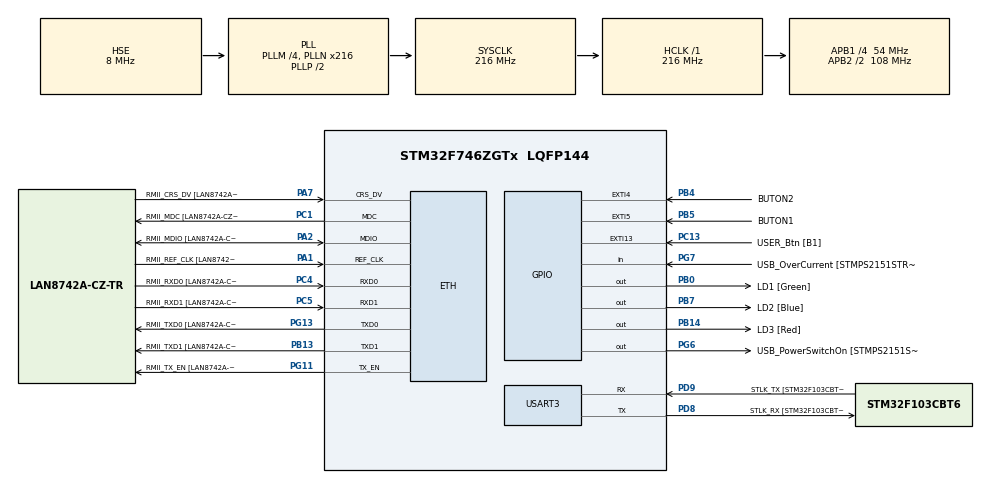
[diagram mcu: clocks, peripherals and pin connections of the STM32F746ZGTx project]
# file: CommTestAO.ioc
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Dma.Request0=USART3_RX
Dma.Request1=USART3_TX
Dma.USART3_RX.0.Direction=DMA_PERIPH_TO_MEMORY
Dma.USART3_RX.0.FIFOMode=DMA_FIFOMODE_DISABLE
Dma.USART3_RX.0.Instance=DMA1_Stream1
Dma.USART3_RX.0.MemDataAlignment=DMA_MDATAALIGN_BYTE
Dma.USART3_RX.0.MemInc=DMA_MINC_ENABLE
Dma.USART3_RX.0.Mode=DMA_CIRCULAR
Dma.USART3_RX.0.PeriphDataAlignment=DMA_PDATAALIGN_BYTE
Dma.USART3_RX.0.PeriphInc=DMA_PINC_DISABLE
Dma.USART3_RX.0.Priority=DMA_PRIORITY_LOW
Dma.USART3_TX.1.Direction=DMA_MEMORY_TO_PERIPH
Dma.USART3_TX.1.FIFOMode=DMA_FIFOMODE_DISABLE
Dma.USART3_TX.1.Instance=DMA1_Stream3
Dma.USART3_TX.1.MemDataAlignment=DMA_MDATAALIGN_BYTE
Dma.USART3_TX.1.MemInc=DMA_MINC_ENABLE
Dma.USART3_TX.1.Mode=DMA_NORMAL
Dma.USART3_TX.1.PeriphDataAlignment=DMA_PDATAALIGN_BYTE
Dma.USART3_TX.1.PeriphInc=DMA_PINC_DISABLE
Dma.USART3_TX.1.Priority=DMA_PRIORITY_LOW
ETH.ChecksumMode=ETH_CHECKSUM_BY_HARDWARE
ETH.MediaInterface=ETH_MEDIA_INTERFACE_RMII
ETH.PHY_Name=LAN8742A_PHY_ADDRESS
ETH.PHY_Value=0
ETH.PhyAddress=0
LWIP.IP_ADDRESS=192.168.000.010
LWIP.LWIP_DHCP=0
LWIP.MEMP_OVERFLOW_CHECK=1
LWIP.MEMP_SANITY_CHECK=1
LWIP.MEM_OVERFLOW_CHECK=1
LWIP.MEM_SIZE=16000
LWIP.NETMASK_ADDRESS=255.255.255.000
LWIP.Version=v2.1.2_Cube
Mcu.Family=STM32F7
Mcu.Name=STM32F746ZGTx
Mcu.Package=LQFP144
NVIC.DMA1_Stream1_IRQn=true\:0\:0\:false\:false\:true\:false\:true\:true
NVIC.DMA1_Stream3_IRQn=true\:0\:0\:false\:false\:true\:false\:true\:true
NVIC.ETH_IRQn=true\:0\:0\:false\:false\:true\:true\:true\:true
NVIC.ETH_WKUP_IRQn=true\:0\:0\:false\:false\:true\:true\:true\:true
NVIC.EXTI15_10_IRQn=true\:0\:0\:false\:false\:true\:true\:true\:true
NVIC.EXTI4_IRQn=true\:0\:0\:false\:false\:true\:true\:true\:true
NVIC.EXTI9_5_IRQn=true\:0\:0\:false\:false\:true\:true\:true\:true
NVIC.PriorityGroup=NVIC_PRIORITYGROUP_4
NVIC.TIM6_DAC_IRQn=true\:0\:0\:false\:false\:true\:true\:true\:true
NVIC.USART3_IRQn=true\:0\:0\:false\:false\:true\:true\:true\:true
PA1.GPIO_Label=RMII_REF_CLK [LAN8742A-CZ-TR_REFCLK0]
PA1.Mode=RMII
PA1.Signal=ETH_REF_CLK
PA13.GPIO_Label=TMS
PA13.Mode=Trace_Asynchronous_SW
PA13.Signal=SYS_JTMS-SWDIO
PA14.GPIO_Label=TCK
PA14.Mode=Trace_Asynchronous_SW
PA14.Signal=SYS_JTCK-SWCLK
PA2.GPIO_Label=RMII_MDIO [LAN8742A-CZ-TR_MDIO]
PA2.Mode=RMII
PA2.Signal=ETH_MDIO
PA7.GPIO_Label=RMII_CRS_DV [LAN8742A-CZ-TR_CRS_DV]
PA7.Mode=RMII
PA7.Signal=ETH_CRS_DV
PB0.GPIO_Label=LD1 [Green]
PB0.Signal=GPIO_Output
PB13.GPIO_Label=RMII_TXD1 [LAN8742A-CZ-TR_TXD1]
PB13.Mode=RMII
PB13.Signal=ETH_TXD1
PB14.GPIO_Label=LD3 [Red]
PB14.Signal=GPIO_Output
PB3.GPIO_Label=SW0
PB3.Mode=Trace_Asynchronous_SW
PB3.Signal=SYS_JTDO-SWO
PB4.GPIO_Label=BUTON2
PB4.GPIO_ModeDefaultEXTI=GPIO_MODE_IT_RISING_FALLING
PB4.GPIO_PuPd=GPIO_PULLDOWN
PB4.Signal=GPXTI4
PB5.GPIO_Label=BUTON1
PB5.GPIO_ModeDefaultEXTI=GPIO_MODE_IT_RISING_FALLING
PB5.GPIO_PuPd=GPIO_PULLDOWN
PB5.Signal=GPXTI5
PB7.GPIO_Label=LD2 [Blue]
PB7.Signal=GPIO_Output
PC1.GPIO_Label=RMII_MDC [LAN8742A-CZ-TR_MDC]
PC1.Mode=RMII
PC1.Signal=ETH_MDC
PC13.GPIO_Label=USER_Btn [B1]
PC13.GPIO_ModeDefaultEXTI=GPIO_MODE_IT_RISING_FALLING
PC13.GPIO_PuPd=GPIO_PULLDOWN
PC13.Signal=GPXTI13
PC14/OSC32_IN.Mode=LSE-External-Oscillator
PC14/OSC32_IN.Signal=RCC_OSC32_IN
PC15/OSC32_OUT.Mode=LSE-External-Oscillator
PC15/OSC32_OUT.Signal=RCC_OSC32_OUT
PC4.GPIO_Label=RMII_RXD0 [LAN8742A-CZ-TR_RXD0]
PC4.Mode=RMII
PC4.Signal=ETH_RXD0
PC5.GPIO_Label=RMII_RXD1 [LAN8742A-CZ-TR_RXD1]
PC5.Mode=RMII
PC5.Signal=ETH_RXD1
PD8.GPIO_Label=STLK_RX [STM32F103CBT6_PA3]
PD8.Mode=Asynchronous
PD8.Signal=USART3_TX
PD9.GPIO_Label=STLK_TX [STM32F103CBT6_PA2]
PD9.Mode=Asynchronous
PD9.Signal=USART3_RX
PG11.GPIO_Label=RMII_TX_EN [LAN8742A-CZ-TR_TXEN]
PG11.Mode=RMII
PG11.Signal=ETH_TX_EN
PG13.GPIO_Label=RMII_TXD0 [LAN8742A-CZ-TR_TXD0]
PG13.Mode=RMII
PG13.Signal=ETH_TXD0
PG6.GPIO_Label=USB_PowerSwitchOn [STMPS2151STR_EN]
PG6.Signal=GPIO_Output
PG7.GPIO_Label=USB_OverCurrent [STMPS2151STR_FAULT]
PG7.Signal=GPIO_Input
PH0/OSC_IN.GPIO_Label=MCO [STM32F103CBT6_PA8]
PH0/OSC_IN.Mode=HSE-External-Clock-Source
PH0/OSC_IN.Signal=RCC_OSC_IN
PH1/OSC_OUT.Mode=HSE-External-Clock-Source
PH1/OSC_OUT.Signal=RCC_OSC_OUT
ProjectManager.HeapSize=0x2000
ProjectManager.StackSize=0x4000
ProjectManager.TargetToolchain=STM32CubeIDE
RCC.48MHZClocksFreq_Value=24000000
RCC.AHBFreq_Value=216000000
RCC.APB1CLKDivider=RCC_HCLK_DIV4
RCC.APB1Freq_Value=54000000
RCC.APB1TimFreq_Value=108000000
RCC.APB2CLKDivider=RCC_HCLK_DIV2
RCC.APB2Freq_Value=108000000
RCC.APB2TimCLKDivider=1
RCC.APB2TimFreq_Value=108000000
RCC.CortexFreq_Value=216000000
RCC.HCLKFreq_Value=216000000
RCC.HSE_VALUE=8000000
RCC.HSI_VALUE=16000000
RCC.PLLM=4
RCC.PLLMUL=RCC_PLL_MUL9
RCC.PLLN=216
RCC.PLLQ=9
RCC.PLLSourceVirtual=RCC_PLLSOURCE_HSE
RCC.PRESCALERUSB=RCC_USBCLKSOURCE_PLL_DIV1_5
RCC.SYSCLKFreq_VALUE=216000000
RCC.SYSCLKSource=RCC_SYSCLKSOURCE_PLLCLK
RCC.SYSCLKSourceVirtual=RCC_SYSCLKSOURCE_PLLCLK
RCC.USBFreq_Value=48000000
RCC.VCOOutputFreq_Value=432000000
TIM6.Period=100-1
TIM6.Prescaler=540-1
USART3.VirtualMode-Asynchronous=VM_ASYNC
VP_LWIP_VS_Enabled.Mode=Enabled
VP_TIM6_VS_ClockSourceINT.Mode=Enable_Timer
board=NUCLEO-F746ZG

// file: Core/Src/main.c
/* USER CODE BEGIN Header */
/**
  ******************************************************************************
  * @file           : main.c
  * @brief          : Main program body
  ******************************************************************************
  * @attention
  *
  * Copyright (c) 2022 STMicroelectronics.
  * All rights reserved.
  *
  * This software is licensed under terms that can be found in the LICENSE file
  * in the root directory of this software component.
  * If no LICENSE file comes with this software, it is provided AS-IS.
  *
  ******************************************************************************
  */
/* USER CODE END Header */
#include "main.h"
#include "lwip.h"

/* USER CODE BEGIN Includes */
#include "stdio.h"
#include "stdlib.h"  /*For malloc function*/
#include "stdbool.h"
#include "retarget.h"
//#include "udp_echoserver.h"
#include "string.h"
#include "CommDriver.h"
/* USER CODE END Includes */

/* USER CODE BEGIN PTD */

Q_DEFINE_THIS_MODULE("main");

/* USER CODE END PTD */

/* USER CODE BEGIN PD */
#define BSP_TICKS_PER_SEC 100
/* USER CODE END PD */

TIM_HandleTypeDef htim6;

UART_HandleTypeDef huart3;
DMA_HandleTypeDef hdma_usart3_rx;
DMA_HandleTypeDef hdma_usart3_tx;

void SystemClock_Config(void);
static void MX_GPIO_Init(void);
static void MX_USART3_UART_Init(void);
static void MX_DMA_Init(void);
static void MX_TIM6_Init(void);
/* USER CODE BEGIN PFP */
void Q_onAssert(char const *module, int loc);
/* USER CODE END PFP */

int main(void)
{
  /* USER CODE BEGIN 1 */
	static QSubscrList subscrSto[10];

	static QF_MPOOL_EL(TextEvt) smlPoolSto[10]; /* small pool */

	static QEvt const *LwipDriver_queue[10];
	static QEvt const *UartDriver_queue[10];

	static LwipDriver lwipdriver;
	static UartDriver uartdriver;
	static QActive *AO_LwipDriver = &lwipdriver.super;
	static QActive *AO_UartDriver = &uartdriver.super;
  /* USER CODE END 1 */

  /* MCU Configuration--------------------------------------------------------*/

  /* Reset of all peripherals, Initializes the Flash interface and the Systick. */
  HAL_Init();

  /* Configure the system clock */
  SystemClock_Config();

  /* Initialize all configured peripherals */
  MX_GPIO_Init();
  MX_USART3_UART_Init();
  MX_DMA_Init();
  MX_LWIP_Init();
  MX_TIM6_Init();
  /* USER CODE BEGIN 2 */
  HAL_UART_DeInit(&huart3);
  HAL_UART_Init(&huart3);
  HAL_UART_Receive_DMA(&huart3,(uint8_t *)uartdriver.text,sizeof(uartdriver.text));
  RetargetInit(&huart3);

  printf("Merhaba\r\n");

  UartDriver_ctor(&uartdriver);
  LwipDriver_ctor(&lwipdriver);

  QF_init();
  QF_psInit(subscrSto, Q_DIM(subscrSto));
  /* initialize event pools... */
  QF_poolInit(smlPoolSto, sizeof(smlPoolSto), sizeof(smlPoolSto[0]));

  /*Aktif objeler arasındaki öncelik ilişkisine dikkat et , öncelikler kesinlikle aynı olmayacak*/

  QACTIVE_START(AO_LwipDriver,2U,LwipDriver_queue,Q_DIM(LwipDriver_queue),(void *)0,0U,(QEvt *)0);
  QACTIVE_START(AO_UartDriver,1U,UartDriver_queue,Q_DIM(UartDriver_queue),(void *)0,0U,(QEvt *)0);
  return QF_run();

  /* USER CODE END 2 */

  /* Infinite loop */
  while (1)
  {

    /* USER CODE BEGIN 3 */

//	  MX_LWIP_Process();

  }
  /* USER CODE END 3 */
}

void SystemClock_Config(void)
{
  RCC_OscInitTypeDef RCC_OscInitStruct = {0};
  RCC_ClkInitTypeDef RCC_ClkInitStruct = {0};

  /** Configure LSE Drive Capability
  */
  HAL_PWR_EnableBkUpAccess();

  /** Configure the main internal regulator output voltage
  */
  __HAL_RCC_PWR_CLK_ENABLE();
  __HAL_PWR_VOLTAGESCALING_CONFIG(PWR_REGULATOR_VOLTAGE_SCALE1);

  /** Initializes the RCC Oscillators according to the specified parameters
  * in the RCC_OscInitTypeDef structure.
  */
  RCC_OscInitStruct.OscillatorType = RCC_OSCILLATORTYPE_HSE;
  RCC_OscInitStruct.HSEState = RCC_HSE_BYPASS;
  RCC_OscInitStruct.PLL.PLLState = RCC_PLL_ON;
  RCC_OscInitStruct.PLL.PLLSource = RCC_PLLSOURCE_HSE;
  RCC_OscInitStruct.PLL.PLLM = 4;
  RCC_OscInitStruct.PLL.PLLN = 216;
  RCC_OscInitStruct.PLL.PLLP = RCC_PLLP_DIV2;
  RCC_OscInitStruct.PLL.PLLQ = 9;
  if (HAL_RCC_OscConfig(&RCC_OscInitStruct) != HAL_OK)
  {
    Error_Handler();
  }

  /** Activate the Over-Drive mode
  */
  if (HAL_PWREx_EnableOverDrive() != HAL_OK)
  {
    Error_Handler();
  }

  /** Initializes the CPU, AHB and APB buses clocks
  */
  RCC_ClkInitStruct.ClockType = RCC_CLOCKTYPE_HCLK|RCC_CLOCKTYPE_SYSCLK
                              |RCC_CLOCKTYPE_PCLK1|RCC_CLOCKTYPE_PCLK2;
  RCC_ClkInitStruct.SYSCLKSource = RCC_SYSCLKSOURCE_PLLCLK;
  RCC_ClkInitStruct.AHBCLKDivider = RCC_SYSCLK_DIV1;
  RCC_ClkInitStruct.APB1CLKDivider = RCC_HCLK_DIV4;
  RCC_ClkInitStruct.APB2CLKDivider = RCC_HCLK_DIV2;

  if (HAL_RCC_ClockConfig(&RCC_ClkInitStruct, FLASH_LATENCY_7) != HAL_OK)
  {
    Error_Handler();
  }
}

static void MX_TIM6_Init(void)
{

  TIM_MasterConfigTypeDef sMasterConfig = {0};

  htim6.Instance = TIM6;
  htim6.Init.Prescaler = 540-1;
  htim6.Init.CounterMode = TIM_COUNTERMODE_UP;
  htim6.Init.Period = 100-1;
  htim6.Init.AutoReloadPreload = TIM_AUTORELOAD_PRELOAD_DISABLE;
  if (HAL_TIM_Base_Init(&htim6) != HAL_OK)
  {
    Error_Handler();
  }
  sMasterConfig.MasterOutputTrigger = TIM_TRGO_RESET;
  sMasterConfig.MasterSlaveMode = TIM_MASTERSLAVEMODE_DISABLE;
  if (HAL_TIMEx_MasterConfigSynchronization(&htim6, &sMasterConfig) != HAL_OK)
  {
    Error_Handler();
  }

}

static void MX_USART3_UART_Init(void)
{

  huart3.Instance = USART3;
  huart3.Init.BaudRate = 115200;
  huart3.Init.WordLength = UART_WORDLENGTH_8B;
  huart3.Init.StopBits = UART_STOPBITS_1;
  huart3.Init.Parity = UART_PARITY_NONE;
  huart3.Init.Mode = UART_MODE_TX_RX;
  huart3.Init.HwFlowCtl = UART_HWCONTROL_NONE;
  huart3.Init.OverSampling = UART_OVERSAMPLING_16;
  huart3.Init.OneBitSampling = UART_ONE_BIT_SAMPLE_DISABLE;
  huart3.AdvancedInit.AdvFeatureInit = UART_ADVFEATURE_NO_INIT;
  if (HAL_UART_Init(&huart3) != HAL_OK)
  {
    Error_Handler();
  }

}

static void MX_DMA_Init(void)
{

  /* DMA controller clock enable */
  __HAL_RCC_DMA1_CLK_ENABLE();

  /* DMA interrupt init */
  /* DMA1_Stream1_IRQn interrupt configuration */
  HAL_NVIC_SetPriority(DMA1_Stream1_IRQn, 0, 0);
  HAL_NVIC_EnableIRQ(DMA1_Stream1_IRQn);
  /* DMA1_Stream3_IRQn interrupt configuration */
  HAL_NVIC_SetPriority(DMA1_Stream3_IRQn, 0, 0);
  HAL_NVIC_EnableIRQ(DMA1_Stream3_IRQn);

}

static void MX_GPIO_Init(void)
{
  GPIO_InitTypeDef GPIO_InitStruct = {0};

  /* GPIO Ports Clock Enable */
  __HAL_RCC_GPIOC_CLK_ENABLE();
  __HAL_RCC_GPIOH_CLK_ENABLE();
  __HAL_RCC_GPIOA_CLK_ENABLE();
  __HAL_RCC_GPIOB_CLK_ENABLE();
  __HAL_RCC_GPIOD_CLK_ENABLE();
  __HAL_RCC_GPIOG_CLK_ENABLE();

  /*Configure GPIO pin Output Level */
  HAL_GPIO_WritePin(GPIOB, LD1_Pin|LD3_Pin|LD2_Pin, GPIO_PIN_RESET);

  /*Configure GPIO pin Output Level */
  HAL_GPIO_WritePin(USB_PowerSwitchOn_GPIO_Port, USB_PowerSwitchOn_Pin, GPIO_PIN_RESET);

  /*Configure GPIO pin : USER_Btn_Pin */
  GPIO_InitStruct.Pin = USER_Btn_Pin;
  GPIO_InitStruct.Mode = GPIO_MODE_IT_RISING_FALLING;
  GPIO_InitStruct.Pull = GPIO_PULLDOWN;
  HAL_GPIO_Init(USER_Btn_GPIO_Port, &GPIO_InitStruct);

  /*Configure GPIO pins : LD1_Pin LD3_Pin LD2_Pin */
  GPIO_InitStruct.Pin = LD1_Pin|LD3_Pin|LD2_Pin;
  GPIO_InitStruct.Mode = GPIO_MODE_OUTPUT_PP;
  GPIO_InitStruct.Pull = GPIO_NOPULL;
  GPIO_InitStruct.Speed = GPIO_SPEED_FREQ_LOW;
  HAL_GPIO_Init(GPIOB, &GPIO_InitStruct);

  /*Configure GPIO pin : USB_PowerSwitchOn_Pin */
  GPIO_InitStruct.Pin = USB_PowerSwitchOn_Pin;
  GPIO_InitStruct.Mode = GPIO_MODE_OUTPUT_PP;
  GPIO_InitStruct.Pull = GPIO_NOPULL;
  GPIO_InitStruct.Speed = GPIO_SPEED_FREQ_LOW;
  HAL_GPIO_Init(USB_PowerSwitchOn_GPIO_Port, &GPIO_InitStruct);

  /*Configure GPIO pin : USB_OverCurrent_Pin */
  GPIO_InitStruct.Pin = USB_OverCurrent_Pin;
  GPIO_InitStruct.Mode = GPIO_MODE_INPUT;
  GPIO_InitStruct.Pull = GPIO_NOPULL;
  HAL_GPIO_Init(USB_OverCurrent_GPIO_Port, &GPIO_InitStruct);

  /*Configure GPIO pins : BUTON2_Pin BUTON1_Pin */
  GPIO_InitStruct.Pin = BUTON2_Pin|BUTON1_Pin;
  GPIO_InitStruct.Mode = GPIO_MODE_IT_RISING_FALLING;
  GPIO_InitStruct.Pull = GPIO_PULLDOWN;
  HAL_GPIO_Init(GPIOB, &GPIO_InitStruct);

  /* EXTI interrupt init*/
  HAL_NVIC_SetPriority(EXTI4_IRQn, 0, 0);
  HAL_NVIC_EnableIRQ(EXTI4_IRQn);

  HAL_NVIC_SetPriority(EXTI9_5_IRQn, 0, 0);
  HAL_NVIC_EnableIRQ(EXTI9_5_IRQn);

  HAL_NVIC_SetPriority(EXTI15_10_IRQn, 0, 0);
  HAL_NVIC_EnableIRQ(EXTI15_10_IRQn);

}

/* USER CODE BEGIN 4 */

void Q_onAssert(char const *module, int loc) {
    /* TBD: damage control */
    (void)module; /* avoid the "unused parameter" compiler warning */
    (void)loc;    /* avoid the "unused parameter" compiler warning */
    NVIC_SystemReset();
}

/**
  * @brief  SYSTICK callback.
  * @retval None
  */
void HAL_SYSTICK_Callback(void)
{
  /* NOTE : This function Should not be modified, when the callback is needed,
            the HAL_SYSTICK_Callback could be implemented in the user file
   */
	QF_TICK_X(0U,(void *)0);
	__NOP();
}

/**
  * @brief  Rx Transfer completed callbacks.
  * @param  heth pointer to a ETH_HandleTypeDef structure that contains
  *         the configuration information for ETHERNET module
  * @retval None
  */
void HAL_ETH_RxCpltCallback(ETH_HandleTypeDef *heth)
{
  /* Prevent unused argument(s) compilation warning */
  UNUSED(heth);

  /* NOTE : This function Should not be modified, when the callback is needed,
  the HAL_ETH_RxCpltCallback could be implemented in the user file
  */

  __NOP();
}

/**
  * @brief  Period elapsed callback in non-blocking mode
  * @param  htim TIM handle
  * @retval None
  */
void HAL_TIM_PeriodElapsedCallback(TIM_HandleTypeDef *htim)
{
  /* Prevent unused argument(s) compilation warning */
  UNUSED(htim);

  /* NOTE : This function should not be modified, when the callback is needed,
            the HAL_TIM_PeriodElapsedCallback could be implemented in the user file
   */

//  	QF_TICK_X(0U,(void *)0);
}

void QV_onIdle(void){
#ifndef NDEBUG
	QV_CPU_SLEEP();
#else
	QF_INT_ENABLE();
#endif
}

void QF_onStartup(void){

}

/* USER CODE END 4 */

void Error_Handler(void)
{
  __disable_irq();
  while (1)
  {
  }
}
